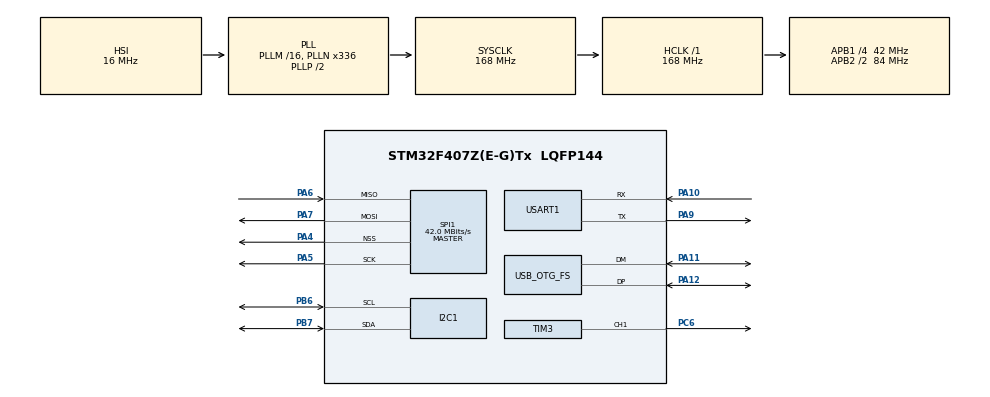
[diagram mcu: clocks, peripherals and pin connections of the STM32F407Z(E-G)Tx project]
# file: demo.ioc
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FREERTOS.Queues01=myQueue01,16,uint16_t,NULL
FREERTOS.Tasks01=defaultTask,0,128,StartDefaultTask,Default
FREERTOS.configUSE_TICKLESS_IDLE=0
FREERTOS.configUSE_TIMERS=1
Mcu.Family=STM32F4
Mcu.Name=STM32F407Z(E-G)Tx
Mcu.Package=LQFP144
NVIC.OTG_FS_IRQn=true\:5\:0\:false
NVIC.PriorityGroup=NVIC_PRIORITYGROUP_4
NVIC.USART1_IRQn=true\:5\:0\:false
PA10.Mode=Asynchronous
PA10.Signal=USART1_RX
PA11.Mode=Device_Only
PA11.Signal=USB_OTG_FS_DM
PA12.Mode=Device_Only
PA12.Signal=USB_OTG_FS_DP
PA4.Mode=NSS_Signal_Hard_Output
PA4.Signal=SPI1_NSS
PA5.Mode=Full_Duplex_Master
PA5.Signal=SPI1_SCK
PA6.Mode=Full_Duplex_Master
PA6.Signal=SPI1_MISO
PA7.Mode=Full_Duplex_Master
PA7.Signal=SPI1_MOSI
PA9.Mode=Asynchronous
PA9.Signal=USART1_TX
PB6.Mode=I2C
PB6.Signal=I2C1_SCL
PB7.Mode=I2C
PB7.Signal=I2C1_SDA
PC14-OSC32_IN.Mode=LSE-External-Oscillator
PC14-OSC32_IN.Signal=RCC_OSC32_IN
PC15-OSC32_OUT.Mode=LSE-External-Oscillator
PC15-OSC32_OUT.Signal=RCC_OSC32_OUT
PC6.Signal=S_TIM3_CH1
PH0-OSC_IN.Mode=HSE-External-Oscillator
PH0-OSC_IN.Signal=RCC_OSC_IN
PH1-OSC_OUT.Mode=HSE-External-Oscillator
PH1-OSC_OUT.Signal=RCC_OSC_OUT
ProjectManager.HeapSize=0x400
ProjectManager.StackSize=0x200
ProjectManager.TargetToolchain=MDK-ARM V5
RCC.48MHZClocksFreq_Value=48000000
RCC.AHBFreq_Value=168000000
RCC.APB1CLKDivider=RCC_HCLK_DIV4
RCC.APB1Freq_Value=42000000
RCC.APB1TimFreq_Value=84000000
RCC.APB2CLKDivider=RCC_HCLK_DIV2
RCC.APB2Freq_Value=84000000
RCC.APB2TimFreq_Value=168000000
RCC.CortexFreq_Value=168000000
RCC.HCLKFreq_Value=168000000
RCC.HSE_VALUE=25000000
RCC.HSI_VALUE=16000000
RCC.PLLN=336
RCC.PLLQ=7
RCC.PLLSource=RCC_PLLSOURCE_HSI
RCC.PLLSourceVirtualString=RCC_PLLSOURCE_HSI
RCC.RCC_RTC_Clock_Source=RCC_RTCCLKSOURCE_LSE
RCC.RCC_RTC_Clock_SourceVirtual=RCC_RTCCLKSOURCE_LSE
RCC.SYSCLKFreq_VALUE=168000000
RCC.SYSCLKSource=RCC_SYSCLKSOURCE_PLLCLK
RCC.VCOOutputFreq_Value=336000000
SH.S_TIM3_CH1.0=TIM3_CH1,PWM Generation1 CH1
SPI1.BaudRatePrescaler=SPI_BAUDRATEPRESCALER_2
SPI1.CalculateBaudRate=42.0 MBits/s
SPI1.Mode=SPI_MODE_MASTER
SPI1.VirtualNSS=VM_NSSHARD
TIM3.OCMode_PWM-PWM\ Generation1\ CH1=TIM_OCMODE_PWM1
TIM3.Pulse-PWM\ Generation1\ CH1=1000
USB_DEVICE.CLASS_NAME-CDC_FS=CDC
USB_DEVICE.USBD_HandleTypeDef-CDC_FS=hUsbDeviceFS
USB_DEVICE.VirtualMode-CDC_FS=Cdc
USB_DEVICE.VirtualModeFS=Cdc_FS
USB_OTG_FS.VirtualMode=Device_Only
VP_FREERTOS_VS_ENABLE.Mode=Enabled
VP_USB_DEVICE_VS_USB_DEVICE_CDC_FS.Mode=CDC_FS
board=demo

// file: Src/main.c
/**
  ******************************************************************************
  * File Name          : main.c
  * Description        : Main program body
  ******************************************************************************
  *
  * COPYRIGHT(c) 2016 STMicroelectronics
  *
  * Redistribution and use in source and binary forms, with or without modification,
  * are permitted provided that the following conditions are met:
  *   1. Redistributions of source code must retain the above copyright notice,
  *      this list of conditions and the following disclaimer.
  *   2. Redistributions in binary form must reproduce the above copyright notice,
  *      this list of conditions and the following disclaimer in the documentation
  *      and/or other materials provided with the distribution.
  *   3. Neither the name of STMicroelectronics nor the names of its contributors
  *      may be used to endorse or promote products derived from this software
  *      without specific prior written permission.
  *
  * THIS SOFTWARE IS PROVIDED BY THE COPYRIGHT HOLDERS AND CONTRIBUTORS "AS IS"
  * AND ANY EXPRESS OR IMPLIED WARRANTIES, INCLUDING, BUT NOT LIMITED TO, THE
  * IMPLIED WARRANTIES OF MERCHANTABILITY AND FITNESS FOR A PARTICULAR PURPOSE ARE
  * DISCLAIMED. IN NO EVENT SHALL THE COPYRIGHT HOLDER OR CONTRIBUTORS BE LIABLE
  * FOR ANY DIRECT, INDIRECT, INCIDENTAL, SPECIAL, EXEMPLARY, OR CONSEQUENTIAL
  * DAMAGES (INCLUDING, BUT NOT LIMITED TO, PROCUREMENT OF SUBSTITUTE GOODS OR
  * SERVICES; LOSS OF USE, DATA, OR PROFITS; OR BUSINESS INTERRUPTION) HOWEVER
  * CAUSED AND ON ANY THEORY OF LIABILITY, WHETHER IN CONTRACT, STRICT LIABILITY,
  * OR TORT (INCLUDING NEGLIGENCE OR OTHERWISE) ARISING IN ANY WAY OUT OF THE USE
  * OF THIS SOFTWARE, EVEN IF ADVISED OF THE POSSIBILITY OF SUCH DAMAGE.
  *
  ******************************************************************************
  */
#include "stm32f4xx_hal.h"
#include "cmsis_os.h"
#include "i2c.h"
#include "spi.h"
#include "tim.h"
#include "usart.h"
#include "usb_device.h"
#include "gpio.h"

/* USER CODE BEGIN PV */
/* Private variables ---------------------------------------------------------*/

/* USER CODE END PV */

void SystemClock_Config(void);
void MX_FREERTOS_Init(void);

/* USER CODE BEGIN PFP */
/* Private function prototypes -----------------------------------------------*/

/* USER CODE END PFP */

/* USER CODE BEGIN 0 */
void Error_Handler(char * err)
{
	SEGGER_RTT_printf(0,"%err:%s\r\n",err);

}
/* USER CODE END 0 */

int main(void)
{

  /* USER CODE BEGIN 1 */
	SEGGER_RTT_Init();
  /* USER CODE END 1 */

  /* MCU Configuration----------------------------------------------------------*/

  /* Reset of all peripherals, Initializes the Flash interface and the Systick. */
  HAL_Init();

  /* Configure the system clock */
  SystemClock_Config();

  /* Initialize all configured peripherals */
  MX_GPIO_Init();
  MX_USB_DEVICE_Init();
  MX_I2C1_Init();
  MX_SPI1_Init();
  MX_USART1_UART_Init();
  MX_TIM3_Init();

  /* Call init function for freertos objects (in freertos.c) */
  MX_FREERTOS_Init();

  /* Start scheduler */
  osKernelStart();

  /* We should never get here as control is now taken by the scheduler */

  /* Infinite loop */
  while (1)
  {

  }

}

/** System Clock Configuration
*/
void SystemClock_Config(void)
{

  RCC_OscInitTypeDef RCC_OscInitStruct;
  RCC_ClkInitTypeDef RCC_ClkInitStruct;

  __PWR_CLK_ENABLE();

  __HAL_PWR_VOLTAGESCALING_CONFIG(PWR_REGULATOR_VOLTAGE_SCALE1);

  RCC_OscInitStruct.OscillatorType = RCC_OSCILLATORTYPE_HSI;
  RCC_OscInitStruct.HSIState = RCC_HSI_ON;
  RCC_OscInitStruct.HSICalibrationValue = 16;
  RCC_OscInitStruct.PLL.PLLState = RCC_PLL_ON;
  RCC_OscInitStruct.PLL.PLLSource = RCC_PLLSOURCE_HSI;
  RCC_OscInitStruct.PLL.PLLM = 16;
  RCC_OscInitStruct.PLL.PLLN = 336;
  RCC_OscInitStruct.PLL.PLLP = RCC_PLLP_DIV2;
  RCC_OscInitStruct.PLL.PLLQ = 7;
  HAL_RCC_OscConfig(&RCC_OscInitStruct);

  RCC_ClkInitStruct.ClockType = RCC_CLOCKTYPE_HCLK|RCC_CLOCKTYPE_SYSCLK
                              |RCC_CLOCKTYPE_PCLK1|RCC_CLOCKTYPE_PCLK2;
  RCC_ClkInitStruct.SYSCLKSource = RCC_SYSCLKSOURCE_PLLCLK;
  RCC_ClkInitStruct.AHBCLKDivider = RCC_SYSCLK_DIV1;
  RCC_ClkInitStruct.APB1CLKDivider = RCC_HCLK_DIV4;
  RCC_ClkInitStruct.APB2CLKDivider = RCC_HCLK_DIV2;
  HAL_RCC_ClockConfig(&RCC_ClkInitStruct, FLASH_LATENCY_5);

  HAL_SYSTICK_Config(HAL_RCC_GetHCLKFreq()/1000);

  HAL_SYSTICK_CLKSourceConfig(SYSTICK_CLKSOURCE_HCLK);

  /* SysTick_IRQn interrupt configuration */
  HAL_NVIC_SetPriority(SysTick_IRQn, 15, 0);
}

/************************ (C) COPYRIGHT STMicroelectronics *****END OF FILE****/

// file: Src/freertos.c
/**
  ******************************************************************************
  * File Name          : freertos.c
  * Description        : Code for freertos applications
  ******************************************************************************
  *
  * COPYRIGHT(c) 2016 STMicroelectronics
  *
  * Redistribution and use in source and binary forms, with or without modification,
  * are permitted provided that the following conditions are met:
  *   1. Redistributions of source code must retain the above copyright notice,
  *      this list of conditions and the following disclaimer.
  *   2. Redistributions in binary form must reproduce the above copyright notice,
  *      this list of conditions and the following disclaimer in the documentation
  *      and/or other materials provided with the distribution.
  *   3. Neither the name of STMicroelectronics nor the names of its contributors
  *      may be used to endorse or promote products derived from this software
  *      without specific prior written permission.
  *
  * THIS SOFTWARE IS PROVIDED BY THE COPYRIGHT HOLDERS AND CONTRIBUTORS "AS IS"
  * AND ANY EXPRESS OR IMPLIED WARRANTIES, INCLUDING, BUT NOT LIMITED TO, THE
  * IMPLIED WARRANTIES OF MERCHANTABILITY AND FITNESS FOR A PARTICULAR PURPOSE ARE
  * DISCLAIMED. IN NO EVENT SHALL THE COPYRIGHT HOLDER OR CONTRIBUTORS BE LIABLE
  * FOR ANY DIRECT, INDIRECT, INCIDENTAL, SPECIAL, EXEMPLARY, OR CONSEQUENTIAL
  * DAMAGES (INCLUDING, BUT NOT LIMITED TO, PROCUREMENT OF SUBSTITUTE GOODS OR
  * SERVICES; LOSS OF USE, DATA, OR PROFITS; OR BUSINESS INTERRUPTION) HOWEVER
  * CAUSED AND ON ANY THEORY OF LIABILITY, WHETHER IN CONTRACT, STRICT LIABILITY,
  * OR TORT (INCLUDING NEGLIGENCE OR OTHERWISE) ARISING IN ANY WAY OUT OF THE USE
  * OF THIS SOFTWARE, EVEN IF ADVISED OF THE POSSIBILITY OF SUCH DAMAGE.
  *
  ******************************************************************************
  */

#include "FreeRTOS.h"
#include "task.h"
#include "cmsis_os.h"

/* USER CODE BEGIN Includes */
#include "eric_flash.h"
#include "tim.h"

/* USER CODE END Includes */

osThreadId defaultTaskHandle;
osMessageQId myQueue01Handle;

/* USER CODE BEGIN Variables */
uint8_t aShowTime[50] = {0};
uint8_t aShowDate[50] = {0};

extern uint8_t buffer[];//接收缓冲区,数组一定要声明为数组，不能是指针

extern void uart_send(uint8_t *buffer,uint8_t len);
extern void uart_read(uint8_t *buffer,uint8_t len);

extern stru_region data_region;

//thread
osThreadId Flash_TaskHandle;//存储数据到flash
osThreadId Rece_data_TaskHandle;//接收命令数据
osThreadId Lcd_disp_TaskHandle;//显示线程
osThreadId Touch_TaskHandle;//触摸线程

//timer
osTimerId my_timer_id;

extern osSemaphoreId osSemaphore;//rtc
extern osSemaphoreId Semaphore_uart;//uart

extern TIM_HandleTypeDef htim3;

/* USER CODE END Variables */

void StartDefaultTask(void const * argument);

extern void MX_USB_DEVICE_Init(void);
void MX_FREERTOS_Init(void); /* (MISRA C 2004 rule 8.1) */

/* USER CODE BEGIN FunctionPrototypes */
//thread
void func_StartFlashTask(void const * argument);//写flash数据任务
void func_Rece_dataTask(void const * argument);//接收命令数据任务
void func_DispTask(void const * argument);//显示任务
void func_TouchTask(void const * argument);//触摸任务

/* USER CODE END FunctionPrototypes */

/* Hook prototypes */

/* Init FreeRTOS */

void MX_FREERTOS_Init(void) {

  /* Create the thread(s) */
  /* definition and creation of defaultTask */
  osThreadDef(defaultTask, StartDefaultTask, osPriorityNormal, 0, 128);
  defaultTaskHandle = osThreadCreate(osThread(defaultTask), NULL);

  /* USER CODE BEGIN RTOS_THREADS */
//	//写数据到flash线程
//  osThreadDef(flash_Task, func_StartFlashTask, osPriorityNormal, 0, 128);
//  Flash_TaskHandle = osThreadCreate(osThread(flash_Task), NULL);
//	//命令数据接收线程
//	osThreadDef(Rece_data_Task, func_Rece_dataTask, osPriorityNormal, 0, 128);
//  Rece_data_TaskHandle = osThreadCreate(osThread(Rece_data_Task), NULL);
//	//显示线程
//  osThreadDef(disp_Task, func_DispTask, osPriorityNormal, 0, 128);
//  Lcd_disp_TaskHandle = osThreadCreate(osThread(disp_Task), NULL);
//	//touch线程
//  osThreadDef(touch_Task, func_TouchTask, osPriorityNormal, 0, 128);
//  Touch_TaskHandle = osThreadCreate(osThread(touch_Task), NULL);
  /* USER CODE END RTOS_THREADS */

  /* Create the queue(s) */
  /* definition and creation of myQueue01 */
  osMessageQDef(myQueue01, 16, uint16_t);
  myQueue01Handle = osMessageCreate(osMessageQ(myQueue01), NULL);

}

/* StartDefaultTask function */
void StartDefaultTask(void const * argument)
{
  /* init code for USB_DEVICE */
  MX_USB_DEVICE_Init();

  /* USER CODE BEGIN StartDefaultTask */
//  for(;;)
//  {
//    osDelay(1000);
//
//  }
		eric_rtc_init();
		//写数据到flash线程
		osThreadDef(flash_Task, func_StartFlashTask, osPriorityNormal, 0, 128);
		Flash_TaskHandle = osThreadCreate(osThread(flash_Task), NULL);
		//命令数据接收线程
		osThreadDef(Rece_data_Task, func_Rece_dataTask, osPriorityNormal, 0, 128);
		Rece_data_TaskHandle = osThreadCreate(osThread(Rece_data_Task), NULL);
		//显示线程
		osThreadDef(disp_Task, func_DispTask, osPriorityNormal, 0, 128);
		Lcd_disp_TaskHandle = osThreadCreate(osThread(disp_Task), NULL);
		//touch线程
		osThreadDef(touch_Task, func_TouchTask, osPriorityNormal, 0, 128);
		Touch_TaskHandle = osThreadCreate(osThread(touch_Task), NULL);

		osThreadTerminate(defaultTaskHandle);

  /* USER CODE END StartDefaultTask */
}

/* USER CODE BEGIN Application */
//定时回调
void Timer_Callback  (void const *arg)
{
	static uint8_t flag=1;
	uint8_t curr_time[3];
	//RTC_Read_datetime(curr_time,2);
	//RTC_Read_datetime(curr_time,1);
	//STM_TIM_Init();
	SEGGER_RTT_printf(0,"TIMER:test\r\n");
		//timer2_test(50000);
			//eric_rtc_init();
	led_flash(flag);
	flag++;
	if(flag>4)
		flag=1;
//	if(flag==0)
//	{
//		flag=1;
//	  if(HAL_TIM_PWM_Start(&htim3, TIM_CHANNEL_1)!= HAL_OK)
//		{
//			HAL_TIM_PWM_Stop(&htim3,TIM_CHANNEL_1);
//		}
//	}
//	else
//	{
//		//flag=0;
//		//HAL_TIM_PWM_Stop(&htim3, TIM_CHANNEL_1);
//	}

}
//---------------------------------------------------
//write flash thread
void func_StartFlashTask(void const * argument)
{
			uint16_t a=1,b=2;
			osEvent event;
			uint8_t data[6]={0x10,0x03,0x09,0x10,0,1};
			RTC_Set_datetime(data);
			flash_init();

			//test timer
			osTimerDef(my_timer_id, Timer_Callback);
			my_timer_id = osTimerCreate(osTimer(my_timer_id), osTimerPeriodic, NULL);
			osTimerStart(my_timer_id, 20000);
	    while(1)
			{
				if(osSemaphoreWait(osSemaphore, osWaitForever) == osOK)
				{
					a++;
					b++;
					flash_write_movedata(a,b);
					//event = osMessageGet(myQueue01Handle, osWaitForever);
					//if(event.status == osEventMessage)
					{
						//SEGGER_RTT_printf(0,"rece info:%d\r\n",event.value.v);
					}
					osSignalSet(Lcd_disp_TaskHandle, 0x1);

				}
				else
					SEGGER_RTT_printf(0,"StartFlashTask:mutex error!\r\n");
			}

}

//-----------------------------------------------------------------
//receive command thread
void func_Rece_dataTask(void const * argument)
{
			uint8_t len=0;
			uint8_t mode=0;//0=读长度阶段，1=命令阶段
			osSemaphoreWait(Semaphore_uart, 0);

			//uart_read(buffer,6);
			uart_read(buffer,1);
	    while(1)
			{
				if(osSemaphoreWait(Semaphore_uart, osWaitForever) == osOK)
						rece_dispatch(buffer);
				else
					SEGGER_RTT_printf(0,"func_Rece_dataTask:mutex error!\r\n");
			}

}
//-------------------------------------------------------------------------
//lcd disp thread
void func_DispTask(void const * argument)//显示任务
{
	while(1)
	{
		//osDelay(1000);
		osSignalWait(0x1, osWaitForever);
		SEGGER_RTT_printf(0,"receive signal!\r\n");

	}
}
//---------------------------------------------------------------
//touch thread
void func_TouchTask(void const * argument)//触摸任务
{uint8_t curr_time[3];
	while(1)
	{
		osDelay(5000);
		//RTC_Read_datetime(curr_time,1);
		//SEGGER_RTT_printf(0,"TIMER:%d:%d:%d\r\n",curr_time[0],curr_time[1],curr_time[2]);
	}
}
/* USER CODE END Application */

/************************ (C) COPYRIGHT STMicroelectronics *****END OF FILE****/
